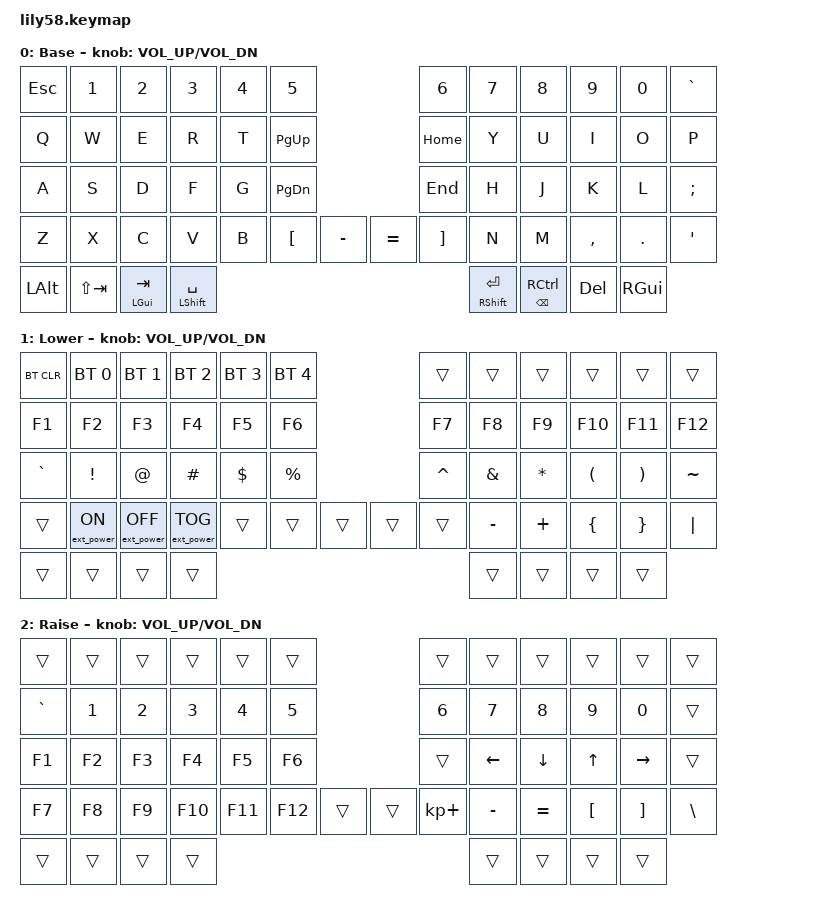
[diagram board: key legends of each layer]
/*
 * Copyright (c) 2020 The ZMK Contributors
 *
 * SPDX-License-Identifier: MIT
 */

#include <behaviors.dtsi>
#include <dt-bindings/zmk/keys.h>
#include <dt-bindings/zmk/bt.h>
#include <dt-bindings/zmk/ext_power.h>

/ {
    keymap {
        compatible = "zmk,keymap";

        default_layer {
// ------------------------------------------------------------------------------------------------------------
// |  ESC  |  1  |  2  |  3   |  4   |  5   |                      |  6    |  7    |  8    |  9   |   0   |   `   |
// |   Q   |  W  |  E  |  R   |  T   | Pg_Up|                      | HOME  |  Y    |  U    |  I   |  O    |   P   | 
// |   A   |  S  |  D  |  F   |  G   | Pg_Dn|                      | END   |  H    |  J    |  K   |  L    |   ;   | 
// |   Z   |  X  |  C  |  V   |  B   | "["  |  MINUS |     | EQUAL |  "]"  |  N    |  M    |  ,   |  .    |   "   | 
//                     | ALT  | GUI  | LOWER|  SPACE |     | ENTER | RAISE | BSPC  | GUI   |
           
            display-name = "Base";
            bindings = <
&kp ESC &kp N1 &kp N2 &kp N3 &kp N4 &kp N5                        &kp N6   &kp N7 &kp N8 &kp N9    &kp N0  &kp GRAVE
&kp Q   &kp W  &kp E  &kp R  &kp T  &kp PG_UP                     &kp HOME &kp Y  &kp U  &kp I     &kp O   &kp P    
&kp A   &kp S  &kp D  &kp F  &kp G  &kp PG_DN                     &kp END  &kp H  &kp J  &kp K     &kp L   &kp SEMI 
&kp Z   &kp X  &kp C  &kp V  &kp B  &kp LBKT &kp MINUS  &kp EQUAL &kp RBKT &kp N  &kp M  &kp COMMA &kp DOT &kp SQT  
&kp LALT &kp LS(TAB)  &mt LGUI TAB  &mt LSHFT SPACE    &mt RSHFT RET  &mt BSPC RCTRL  &kp DEL &kp RGUI
            >;

            sensor-bindings = <&inc_dec_kp C_VOL_UP C_VOL_DN>;
        };

        lower_layer {
// ------------------------------------------------------------------------------------------------------------
// | BTCLR | BT1 | BT2 |  BT3 |  BT4 |  BT5 |                   |      |       |       |      |       |       |
// |  F1   |  F2 |  F3 |  F4  |  F5  |  F6  |                   |  F7  |  F8   |  F9   |  F10 |  F11  |  F12  |
// |   `   |  !  |  @  |  #   |  $   |  %   |                   |  ^   |  &    |  *    |  (   |   )   |   ~   |
// |       |     |     |      |      |      |        |  |       |      |  _    |  +    |  {   |   }   |  "|"  |
//                     |      |      |      |        |  |       |      |       |       |
            display-name = "Lower";
            bindings = <
&bt BT_CLR &bt BT_SEL 0     &bt BT_SEL 1      &bt BT_SEL 2      &bt BT_SEL 3 &bt BT_SEL 4                 &trans    &trans    &trans    &trans    &trans    &trans
&kp F1     &kp F2           &kp F3            &kp F4            &kp F5       &kp F6                       &kp F7    &kp F8    &kp F9    &kp F10   &kp F11   &kp F12
&kp GRAVE  &kp EXCL         &kp AT            &kp HASH          &kp DOLLAR   &kp PRCNT                    &kp CARET &kp AMPS  &kp ASTRK &kp LPAR  &kp RPAR  &kp TILDE
&trans     &ext_power EP_ON &ext_power EP_OFF &ext_power EP_TOG &trans       &trans    &trans   &trans    &trans    &kp MINUS &kp PLUS  &kp LBRC  &kp RBRC  &kp PIPE
                                              &trans            &trans       &trans    &trans   &trans    &trans    &trans    &trans
            >;

            sensor-bindings = <&inc_dec_kp C_VOL_UP C_VOL_DN>;
        };

        raise_layer {
// ------------------------------------------------------------------------------------------------------------
// |       |     |     |      |      |      |                   |      |       |       |      |       |       |
// |   `   |  1  |  2  |  3   |  4   |  5   |                   |  6   |   7   |   8   |  9   |   0   |       |
// |   F1  |  F2 |  F3 |  F4  |  F5  |  F6  |                   |      |   <-  |   v   |  ^   |  ->   |       |
// |   F7  |  F8 |  F9 |  F10 |  F11 |  F12 |        |  |       |  +   |   -   |   =   |  [   |   ]   |   \   |
//                     |      |      |      |        |  |       |      |       |       |
            display-name = "Raise";
            bindings = <
&trans    &trans &trans &trans  &trans  &trans                       &trans      &trans    &trans    &trans   &trans    &trans
&kp GRAVE &kp N1 &kp N2 &kp N3  &kp N4  &kp N5                       &kp N6      &kp N7    &kp N8    &kp N9   &kp N0    &trans
&kp F1    &kp F2 &kp F3 &kp F4  &kp F5  &kp F6                       &trans      &kp LEFT  &kp DOWN  &kp UP   &kp RIGHT &trans
&kp F7    &kp F8 &kp F9 &kp F10 &kp F11 &kp F12   &trans   &trans    &kp KP_PLUS &kp MINUS &kp EQUAL &kp LBKT &kp RBKT  &kp BSLH
                        &trans  &trans  &trans    &trans   &trans    &trans      &trans    &trans
            >;

            sensor-bindings = <&inc_dec_kp C_VOL_UP C_VOL_DN>;
        };
        
        extra_1 {
            status = "reserved";
        };

        extra_2 {
            status = "reserved";
        };

        extra_3 {
            status = "reserved";
        };
    };
};
